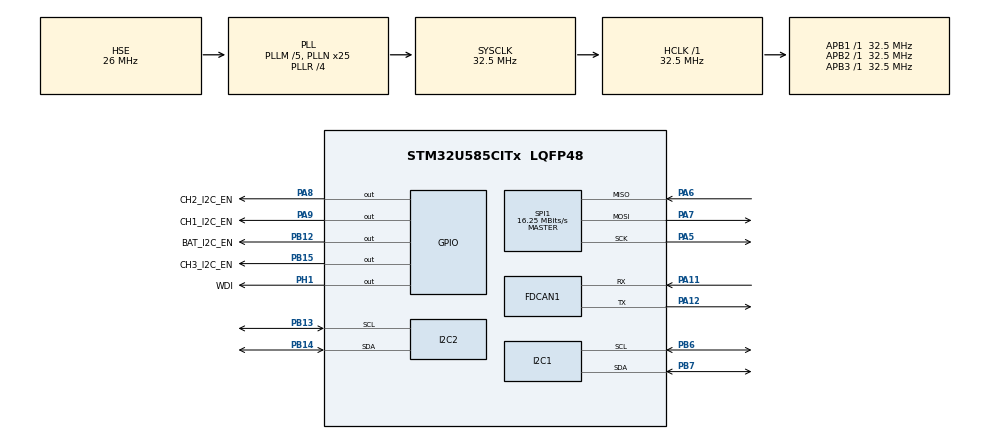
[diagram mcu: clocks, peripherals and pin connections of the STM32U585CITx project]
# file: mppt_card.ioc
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CORTEX_M33_NS.userName=CORTEX_M33
FDCAN1.CalculateBaudRateNominal=500000
FDCAN1.CalculateTimeBitNominal=2000
FDCAN1.CalculateTimeQuantumNominal=153.84615384615384
FDCAN1.DataPrescaler=1
FDCAN1.DataTimeSeg1=1
FDCAN1.DataTimeSeg2=1
FDCAN1.NominalPrescaler=4
FDCAN1.NominalTimeSeg1=10
FDCAN1.NominalTimeSeg2=2
I2C1.Timing=0x00807EBE
I2C2.Timing=0x00807EBE
Mcu.Family=STM32U5
Mcu.Name=STM32U585CITx
Mcu.Package=LQFP48
NVIC.PriorityGroup=NVIC_PRIORITYGROUP_4
PA11.Mode=FDCAN_Activate
PA11.Signal=FDCAN1_RX
PA12.Mode=FDCAN_Activate
PA12.Signal=FDCAN1_TX
PA13\ (JTMS/SWDIO).Mode=Serial_Wire
PA13\ (JTMS/SWDIO).Signal=DEBUG_JTMS-SWDIO
PA14\ (JTCK/SWCLK).Mode=Serial_Wire
PA14\ (JTCK/SWCLK).Signal=DEBUG_JTCK-SWCLK
PA5.Mode=Full_Duplex_Master
PA5.Signal=SPI1_SCK
PA6.Mode=Full_Duplex_Master
PA6.Signal=SPI1_MISO
PA7.Mode=Full_Duplex_Master
PA7.Signal=SPI1_MOSI
PA8.GPIO_Label=CH2_I2C_EN
PA8.Signal=GPIO_Output
PA9.GPIO_Label=CH1_I2C_EN
PA9.Signal=GPIO_Output
PB0.Signal=SPI1_NSS
PB12.GPIO_Label=BAT_I2C_EN
PB12.Signal=GPIO_Output
PB13.Mode=I2C
PB13.Signal=I2C2_SCL
PB14.Mode=I2C
PB14.Signal=I2C2_SDA
PB15.GPIO_Label=CH3_I2C_EN
PB15.Signal=GPIO_Output
PB6.Mode=I2C
PB6.Signal=I2C1_SCL
PB7.Mode=I2C
PB7.Signal=I2C1_SDA
PC14-OSC32_IN\ (PC14).Mode=LSE-External-Oscillator
PC14-OSC32_IN\ (PC14).Signal=RCC_OSC32_IN
PC15-OSC32_OUT\ (PC15).Mode=LSE-External-Oscillator
PC15-OSC32_OUT\ (PC15).Signal=RCC_OSC32_OUT
PH0-OSC_IN\ (PH0).Mode=HSE-External-Clock-Source
PH0-OSC_IN\ (PH0).Signal=RCC_OSC_IN
PH1-OSC_OUT\ (PH1).GPIO_Label=WDI
PH1-OSC_OUT\ (PH1).Signal=GPIO_Output
ProjectManager.HeapSize=0x200
ProjectManager.StackSize=0x400
ProjectManager.TargetToolchain=STM32CubeIDE
RCC.ADCFreq_Value=16000000
RCC.AHBFreq_Value=32500000
RCC.APB1Freq_Value=32500000
RCC.APB1TimFreq_Value=32500000
RCC.APB2Freq_Value=32500000
RCC.APB2TimFreq_Value=32500000
RCC.APB3Freq_Value=32500000
RCC.CortexFreq_Value=32500000
RCC.EPOD_VALUE=26000000
RCC.FDCANClockSelection=RCC_FDCAN1CLKSOURCE_HSE
RCC.HCLKFreq_Value=32500000
RCC.HSE_VALUE=26000000
RCC.HSI48_VALUE=48000000
RCC.HSI_VALUE=16000000
RCC.LSIDIV_VALUE=32000
RCC.MSIClockRange=RCC_MSIRANGE_0
RCC.MSI_VALUE=48000000
RCC.PLL1Q=1
RCC.PLL1R=4
RCC.PLL2FRACN=0
RCC.PLL3FRACN=0
RCC.PLLFRACN=0
RCC.PLLM=5
RCC.PLLN=25
RCC.PLLSourceVirtual=RCC_PLLSOURCE_HSE
RCC.SYSCLKFreq_VALUE=32500000
RCC.SYSCLKSource=RCC_SYSCLKSOURCE_PLLCLK
RCC.USBFreq_Value=48000000
RCC.VCOOutputFreq_Value=130000000
SPI1.BaudRatePrescaler=SPI_BAUDRATEPRESCALER_2
SPI1.CalculateBaudRate=16.25 MBits/s
SPI1.DataSize=SPI_DATASIZE_8BIT
SPI1.Direction=SPI_DIRECTION_2LINES
SPI1.Mode=SPI_MODE_MASTER
SPI1.VirtualType=VM_MASTER
VP_LPBAMQUEUE_VS_QUEUE.Mode=QUEUEMODE
VP_LPBAM_VS_SIG1.Mode=SmartRun
VP_LPBAM_VS_SIG4.Mode=LPDMA1
VP_MEMORYMAP_VS_MEMORYMAP.Mode=CurAppReg
VP_PWR_VS_SECSignals.Mode=Security/Privilege
board=custom

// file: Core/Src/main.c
/* USER CODE BEGIN Header */
/**
  ******************************************************************************
  * @file           : main.c
  * @brief          : Main program body
  ******************************************************************************
  * @attention
  *
  * Copyright (c) 2026 STMicroelectronics.
  * All rights reserved.
  *
  * This software is licensed under terms that can be found in the LICENSE file
  * in the root directory of this software component.
  * If no LICENSE file comes with this software, it is provided AS-IS.
  *
  ******************************************************************************
  */
/* USER CODE END Header */
#include "main.h"

/* USER CODE BEGIN PTD */
typedef struct{
    uint8_t priority;
    uint8_t sender;
    uint8_t receiver;
    uint16_t message_id;
    uint8_t seq_type;
    uint8_t seq_count;
} METUCube_FDCAN_ID_t;

typedef struct{
  uint8_t priority;
  uint8_t sender;
  uint8_t receiver;
  uint16_t message_id;
  uint8_t seq_type;
  uint8_t seq_count;
  uint8_t dlc;
  uint8_t payload[8];
}FDCAN_queue_element;

typedef struct {
    uint16_t tbat;
    uint16_t pout;
    uint16_t pin;
    uint16_t iout;
    uint16_t vbat;
    uint16_t vin;
} LT8491_Telemetry_t;

/* USER CODE END PTD */

/* USER CODE BEGIN PD */
#define BROADCAST_ID  0x0F
#define MPPT_ID       0x04
#define OBC_ID        0x00

#define MSG_ID_MPPT_HEARTBEAT 0x85
#define MSG_ID_MPPT_HOUSEKEEPING 0x86

#define FDCAN_QUEUE_SIZE 50

#define TELE_TBAT  0x00
#define TELE_POUT  0x02
#define TELE_PIN   0x04
#define TELE_IOUT  0x08
#define TELE_VBAT  0x0C
#define TELE_VIN   0x0E

#define LT8491_REG_STAT_CHARGER      0x12
#define LT8491_REG_CTRL_CHRG_EN      0x23
#define LT8491_REG_BOOT_INIT_CHRG_EN 0x9A

#define LT8491_CH1_ADDR  (0x10 << 1)
#define LT8491_CH2_ADDR  (0x29 << 1)
#define LT8491_CH3_ADDR  (0x19 << 1)

#define WDI_TOGGLE_INTERVAL_MS  500 // must be under the external WDI timeout

#define EN_I2C_CH1_PORT CH1_I2C_EN_GPIO_Port
#define EN_I2C_CH1_PIN  CH1_I2C_EN_Pin
#define EN_I2C_CH2_PORT CH2_I2C_EN_GPIO_Port
#define EN_I2C_CH2_PIN  CH2_I2C_EN_Pin
#define EN_I2C_CH3_PORT CH3_I2C_EN_GPIO_Port
#define EN_I2C_CH3_PIN  CH3_I2C_EN_Pin
#define EN_I2C_BAT_PORT BAT_I2C_EN_GPIO_Port
#define EN_I2C_BAT_PIN  BAT_I2C_EN_Pin

#define CLAMP_U16(x)  ((x) > 0xFFFFU ? (uint16_t)0xFFFF : (uint16_t)(x)) // uint32 to uint16

#define CH_STATUS_CH1_VALID  0x01
#define CH_STATUS_CH2_VALID  0x02
#define CH_STATUS_CH3_VALID  0x04
/* USER CODE END PD */

FDCAN_HandleTypeDef hfdcan1;

I2C_HandleTypeDef hi2c1;
I2C_HandleTypeDef hi2c2;

SPI_HandleTypeDef hspi1;

/* USER CODE BEGIN PV */
uint32_t errorCounter = 0;
uint32_t canRecCounter = 0;
FDCAN_TxHeaderTypeDef txHeader;
FDCAN_RxHeaderTypeDef rxHeader;
uint8_t txData[8];
uint8_t rxData[8];

uint32_t last_heartbeat_time = 0;
uint32_t last_OBC_heartbeat_time = 0;
uint32_t last_wdi_toggle_time = 0;
const uint32_t heartbeat_interval = 1000;
const uint32_t OBC_heartbeat_reset_time = 10000;

volatile uint8_t queue_head = 0;
volatile uint8_t queue_tail = 0;
volatile uint16_t queue_overflow_counter = 0;

FDCAN_queue_element fdcan_queue[FDCAN_QUEUE_SIZE];

uint8_t mppt_ch_status = 0; // whether the read from last i2c channel succeded or failed for debug
/* USER CODE END PV */

void SystemClock_Config(void);
static void MX_GPIO_Init(void);
static void MX_FDCAN1_Init(void);
static void MX_SPI1_Init(void);
static void MX_I2C2_Init(void);
static void MX_I2C1_Init(void);
/* USER CODE BEGIN PFP */
uint32_t Build_FDCAN_ID_FromStruct(METUCube_FDCAN_ID_t *id);

HAL_StatusTypeDef MPPT_Send_Heartbeat(void);
HAL_StatusTypeDef MPPT_Send_Housekeeping(void);

uint8_t FDCAN_QueuePush(FDCAN_queue_element *queue, volatile uint8_t *head, volatile uint8_t *tail, FDCAN_queue_element *element);
uint8_t FDCAN_QueuePop(FDCAN_queue_element *queue, volatile uint8_t *head, volatile uint8_t *tail, FDCAN_queue_element *element);
HAL_StatusTypeDef FDCAN_ProcessQueue(void);
uint8_t FDCAN_DLC_ToBytes(uint32_t dataLength);
HAL_StatusTypeDef FDCAN_ProcessQueueElement(FDCAN_queue_element *element);
uint32_t FDCAN_Bytes_To_DLC(uint8_t bytes);
HAL_StatusTypeDef LT8491_ReadWord(I2C_HandleTypeDef *hi2c, uint16_t devAddr, uint8_t reg, uint16_t *value);
HAL_StatusTypeDef LT8491_ReadAllTelemetry(I2C_HandleTypeDef *hi2c, uint16_t devAddr, LT8491_Telemetry_t *tele);
void MPPT_EN_I2C_Init(void);

HAL_StatusTypeDef LT8491_ReadByte(I2C_HandleTypeDef *hi2c, uint16_t devAddr, uint8_t reg, uint8_t *value);
HAL_StatusTypeDef LT8491_WriteByte(I2C_HandleTypeDef *hi2c, uint16_t devAddr, uint8_t reg, uint8_t value);
void MPPT_Ensure_Charging(void);
/* USER CODE END PFP */

/* USER CODE BEGIN 0 */
uint32_t Build_FDCAN_ID_FromStruct(METUCube_FDCAN_ID_t *id) {
    uint32_t ext_id = 0;
    ext_id |= ((id->priority   & 0x03) << 27);
    ext_id |= ((id->sender     & 0x0F) << 23);
    ext_id |= ((id->receiver   & 0x0F) << 19);
    ext_id |= ((id->message_id & 0x3FF) << 9);
    ext_id |= ((id->seq_type   & 0x03) << 7);
    ext_id |= ((id->seq_count  & 0x7F));

    return ext_id;
}

HAL_StatusTypeDef MPPT_Send_Heartbeat(void){
	METUCube_FDCAN_ID_t fdcan_id;
	fdcan_id.priority = 0x03;
	fdcan_id.sender = MPPT_ID;
	fdcan_id.receiver = OBC_ID;
	fdcan_id.message_id = MSG_ID_MPPT_HEARTBEAT;
	fdcan_id.seq_type = 0x03;
	fdcan_id.seq_count = 0;

	txHeader.Identifier = Build_FDCAN_ID_FromStruct(&fdcan_id);
	txHeader.IdType = FDCAN_EXTENDED_ID;
	txHeader.TxFrameType = FDCAN_DATA_FRAME;
	txHeader.DataLength = FDCAN_DLC_BYTES_1;
	txHeader.ErrorStateIndicator = FDCAN_ESI_ACTIVE;
    txHeader.BitRateSwitch = FDCAN_BRS_OFF;
    txHeader.FDFormat = FDCAN_CLASSIC_CAN;
	txHeader.TxEventFifoControl = FDCAN_NO_TX_EVENTS;
	txHeader.MessageMarker = 0;

	txData[0] = MSG_ID_MPPT_HEARTBEAT;

	return HAL_FDCAN_AddMessageToTxFifoQ(&hfdcan1, &txHeader, txData);
}

uint8_t FDCAN_QueuePush(FDCAN_queue_element *queue, volatile uint8_t *head, volatile uint8_t *tail, FDCAN_queue_element *element) {
  uint8_t next = (*head + 1) % FDCAN_QUEUE_SIZE;
  if (next == *tail) return 0;   // queue full
  queue[*head] = *element;
  *head = next;
  return 1;
}

uint8_t FDCAN_QueuePop(FDCAN_queue_element *queue, volatile uint8_t *head, volatile uint8_t *tail, FDCAN_queue_element *element){
  __disable_irq();
  if (*tail == *head) {
    __enable_irq();
    return 0;   // empty
  }
  *element = queue[*tail];
  *tail = (*tail + 1) % FDCAN_QUEUE_SIZE;
  __enable_irq();
  return 1;
}

HAL_StatusTypeDef FDCAN_ProcessQueue(void){
  FDCAN_queue_element element;
  if(FDCAN_QueuePop(fdcan_queue, &queue_head, &queue_tail, &element)){
    return FDCAN_ProcessQueueElement(&element);
  }
  return HAL_OK;
}

uint8_t FDCAN_DLC_ToBytes(uint32_t dataLength){
    switch (dataLength){
    	case FDCAN_DLC_BYTES_0: return 0;
        case FDCAN_DLC_BYTES_1: return 1;
        case FDCAN_DLC_BYTES_2: return 2;
        case FDCAN_DLC_BYTES_3: return 3;
        case FDCAN_DLC_BYTES_4: return 4;
        case FDCAN_DLC_BYTES_5: return 5;
        case FDCAN_DLC_BYTES_6: return 6;
        case FDCAN_DLC_BYTES_7: return 7;
        case FDCAN_DLC_BYTES_8: return 8;
        default:
        	return 0;
    }
}

uint32_t FDCAN_Bytes_To_DLC(uint8_t bytes){
    switch(bytes){
        case 0: return FDCAN_DLC_BYTES_0;
        case 1: return FDCAN_DLC_BYTES_1;
        case 2: return FDCAN_DLC_BYTES_2;
        case 3: return FDCAN_DLC_BYTES_3;
        case 4: return FDCAN_DLC_BYTES_4;
        case 5: return FDCAN_DLC_BYTES_5;
        case 6: return FDCAN_DLC_BYTES_6;
        case 7: return FDCAN_DLC_BYTES_7;
        default: return FDCAN_DLC_BYTES_8;
    }
}

HAL_StatusTypeDef FDCAN_ProcessQueueElement(FDCAN_queue_element *element){
    switch(element->message_id){
    	case MSG_ID_MPPT_HOUSEKEEPING: return MPPT_Send_Housekeeping();
      case MSG_ID_MPPT_HEARTBEAT: return MPPT_Send_Heartbeat();
        default:
            break;
    }
    return HAL_OK;
}

HAL_StatusTypeDef LT8491_ReadWord(I2C_HandleTypeDef *hi2c, uint16_t devAddr, uint8_t reg, uint16_t *value){
    uint8_t data[2];
    HAL_StatusTypeDef status = HAL_I2C_Mem_Read(hi2c, devAddr, reg, I2C_MEMADD_SIZE_8BIT, data, 2, 100);

    if (status != HAL_OK) return status;

    *value = (uint16_t)(data[0] | (data[1] << 8));   //little endian, yanlışsa düzeltiriz
    return HAL_OK;
}

HAL_StatusTypeDef LT8491_ReadAllTelemetry(I2C_HandleTypeDef *hi2c, uint16_t devAddr, LT8491_Telemetry_t *tele){
  if (LT8491_ReadWord(hi2c,devAddr, TELE_TBAT, &tele->tbat) != HAL_OK) goto fail;
  if (LT8491_ReadWord(hi2c,devAddr, TELE_POUT, &tele->pout) != HAL_OK) goto fail;
  if (LT8491_ReadWord(hi2c,devAddr, TELE_PIN,  &tele->pin)  != HAL_OK) goto fail;
  if (LT8491_ReadWord(hi2c,devAddr, TELE_IOUT, &tele->iout) != HAL_OK) goto fail;
  if (LT8491_ReadWord(hi2c,devAddr, TELE_VBAT, &tele->vbat) != HAL_OK) goto fail;
  if (LT8491_ReadWord(hi2c,devAddr, TELE_VIN,  &tele->vin)  != HAL_OK) goto fail;
  return HAL_OK;
 fail:
  *tele = (LT8491_Telemetry_t){0};
  return HAL_ERROR;
}

void MPPT_EN_I2C_Init(void){

    /* Drive all enables high, level shifters pass-through */
    HAL_GPIO_WritePin( CH1_I2C_EN_GPIO_Port, CH1_I2C_EN_Pin,GPIO_PIN_SET );

    HAL_GPIO_WritePin( CH2_I2C_EN_GPIO_Port,CH2_I2C_EN_Pin,GPIO_PIN_SET );

    HAL_GPIO_WritePin(CH3_I2C_EN_GPIO_Port,CH3_I2C_EN_Pin,GPIO_PIN_SET );

    HAL_GPIO_WritePin(BAT_I2C_EN_GPIO_Port,BAT_I2C_EN_Pin,GPIO_PIN_SET );
}

HAL_StatusTypeDef LT8491_ReadByte(I2C_HandleTypeDef *hi2c, uint16_t devAddr, uint8_t reg, uint8_t *value){
    return HAL_I2C_Mem_Read(hi2c, devAddr, reg, I2C_MEMADD_SIZE_8BIT, value, 1, 100);
}

HAL_StatusTypeDef LT8491_WriteByte(I2C_HandleTypeDef *hi2c, uint16_t devAddr, uint8_t reg, uint8_t value){
    return HAL_I2C_Mem_Write(hi2c, devAddr, reg, I2C_MEMADD_SIZE_8BIT, &value, 1, 100);
}
//kapalıysa enable ediyor
void MPPT_Ensure_Charging(void){
    const uint16_t addrs[3] = {LT8491_CH1_ADDR, LT8491_CH2_ADDR, LT8491_CH3_ADDR};
    for (uint8_t i = 0; i < 3; i++){
        uint8_t stat = 0;
        if (LT8491_ReadByte(&hi2c1, addrs[i], LT8491_REG_STAT_CHARGER, &stat) != HAL_OK){
            errorCounter++;
            continue;
        }
        if ((stat & 0x01) == 0){  // CHRG_EN_PIN/charging-off göstergesi: bit tanımını datasheet STAT_CHARGER tablosundan teyit et
            if (LT8491_WriteByte(&hi2c1, addrs[i], LT8491_REG_CTRL_CHRG_EN, 0x01) != HAL_OK)
                errorCounter++;
        }
    }
}

HAL_StatusTypeDef MPPT_Send_Housekeeping(void){
    uint16_t payload[18] = {0};

    LT8491_Telemetry_t ch1 = {0};
    LT8491_Telemetry_t ch2 = {0};
    LT8491_Telemetry_t ch3 = {0};
    mppt_ch_status = 0;

    /* --- Read each channel independently --- */
    if (LT8491_ReadAllTelemetry(&hi2c1, LT8491_CH1_ADDR, &ch1) == HAL_OK)
        mppt_ch_status |= CH_STATUS_CH1_VALID;

    if (LT8491_ReadAllTelemetry(&hi2c1, LT8491_CH2_ADDR, &ch2) == HAL_OK)
        mppt_ch_status |= CH_STATUS_CH2_VALID;

    if (LT8491_ReadAllTelemetry(&hi2c1, LT8491_CH3_ADDR, &ch3) == HAL_OK)
        mppt_ch_status |= CH_STATUS_CH3_VALID;

    /* --- Assemble payload (matches spec 3.3.2, 0x86) --- */

    /* Overflow-safe sums for combined battery fields */
    uint32_t total_iout = (uint32_t)ch1.iout + ch2.iout + ch3.iout;
    uint32_t total_pout = (uint32_t)ch1.pout + ch2.pout + ch3.pout;

    payload[0]  = (ch1.vbat*10);              // battery voltage mv
    payload[1]  = CLAMP_U16(total_iout); // battery current ma
    payload[2]  = CLAMP_U16(total_pout);  // battery power mw

    payload[3]  = (ch1.pout*10);               // CH1 Power Out
    payload[4]  = (ch1.pin*10);                // CH1 Power Draw
    payload[5]  = (ch1.vin*10);                // CH1 Power Voltage
    payload[6]  = 0;                      // CH1 Placeholder

    payload[7]  = (ch2.pout*10);               // CH2 Power Out
    payload[8]  = (ch2.pin*10);                // CH2 Power Draw
    payload[9]  = (ch2.vin*10);                // CH2 Power Voltage
    payload[10] = 0;                      // CH2 Placeholder

    payload[11] = (ch3.pout*10);               // CH3 Power Out
    payload[12] = (ch3.pin*10);                // CH3 Power Draw
    payload[13] = (ch3.vin*10);                // CH3 Power Voltage
    payload[14] = 0;                      // CH3 Placeholder

    int16_t tbat_raw = (int16_t)ch1.tbat;
    if ((mppt_ch_status & CH_STATUS_CH1_VALID) && tbat_raw != (int16_t)0x7FFF) {
        float tbat_k = (tbat_raw / 10.0f) + 273.15f;
        payload[15] = (uint16_t)(tbat_k + 0.5f);
    }else{
        payload[15] = 0;
    }         // MPPT Board Temp kelvin olarak dönüşüm yanlış olabilir emin değilim hiç burda channel 1 okumak yeterli mi?

    payload[16] = 0;                      // Placeholder
    payload[17] = 0;                      // Placeholder

    /* --- Transmit 36 bytes across 5 classic CAN frames --- */
    METUCube_FDCAN_ID_t fdcan_id;
    fdcan_id.priority = 0x03;
    fdcan_id.sender = MPPT_ID;
    fdcan_id.receiver = OBC_ID;
    fdcan_id.message_id = MSG_ID_MPPT_HOUSEKEEPING;

    uint8_t *bytes = (uint8_t *)payload;
    uint8_t total_bytes = 36;

    for (uint8_t segment = 0; segment < 5; segment++){
        uint8_t remaining = total_bytes - segment * 8;
        uint8_t dlc = (remaining >= 8) ? 8 : remaining;

        fdcan_id.seq_count = segment;

        if (segment == 0)
            fdcan_id.seq_type = 0x01;
        else if (segment == 4)
            fdcan_id.seq_type = 0x02;
        else
            fdcan_id.seq_type = 0x00;

        txHeader.Identifier = Build_FDCAN_ID_FromStruct(&fdcan_id);
        txHeader.IdType = FDCAN_EXTENDED_ID;
        txHeader.TxFrameType = FDCAN_DATA_FRAME;
        txHeader.DataLength = FDCAN_Bytes_To_DLC(dlc);
        txHeader.ErrorStateIndicator = FDCAN_ESI_ACTIVE;
        txHeader.BitRateSwitch = FDCAN_BRS_OFF;
        txHeader.FDFormat = FDCAN_CLASSIC_CAN;
        txHeader.TxEventFifoControl = FDCAN_NO_TX_EVENTS;
        txHeader.MessageMarker = 0;

        for (uint8_t i = 0; i < dlc; i++) {
            txData[i] = bytes[segment * 8 + i];
        }

        HAL_StatusTypeDef status = HAL_FDCAN_AddMessageToTxFifoQ(&hfdcan1, &txHeader, txData);

        if (status != HAL_OK) return status;

        HAL_Delay(2);
    }

    return HAL_OK;
}
/* USER CODE END 0 */

int main(void)
{

  /* MCU Configuration--------------------------------------------------------*/

  /* Reset of all peripherals, Initializes the Flash interface and the Systick. */
  HAL_Init();

  /* Configure the system clock */
  SystemClock_Config();

  /* Initialize all configured peripherals */
  MX_GPIO_Init();
  MX_FDCAN1_Init();
  MX_SPI1_Init();
  MX_I2C2_Init();
  MX_I2C1_Init();
  /* USER CODE BEGIN 2 */

  MPPT_EN_I2C_Init();
  HAL_Delay(10);
  MPPT_Ensure_Charging(); // bu lt8491'lerin charging enable pinlerini aktif ediyor, eğer kapalıysa. bunu daha kontrollü yapmak lazım sanırım, çünkü eğer kapalıysa açıyor, ama kapalı olmasının sebebi bir hata olabilir. o yüzden bunu daha kontrollü yapmak lazım. mesela önce stat register'ı oku, eğer charging enable pin kapalıysa ve stat register'da bir hata yoksa enable et gibi.

  if (HAL_FDCAN_ConfigGlobalFilter(&hfdcan1, FDCAN_ACCEPT_IN_RX_FIFO0,FDCAN_ACCEPT_IN_RX_FIFO0,FDCAN_REJECT_REMOTE, FDCAN_REJECT_REMOTE) != HAL_OK){
      errorCounter++;
  }

  if (HAL_FDCAN_Start(&hfdcan1) != HAL_OK){
      errorCounter++;
  }

  if (HAL_FDCAN_ActivateNotification(&hfdcan1, FDCAN_IT_RX_FIFO0_NEW_MESSAGE, 0) != HAL_OK) {
	  errorCounter++;
  }
  /* USER CODE END 2 */

  /* Infinite loop */
  while (1)
  {

    /* USER CODE BEGIN 3 */

    if (HAL_GetTick() - last_wdi_toggle_time >= WDI_TOGGLE_INTERVAL_MS) {
		  last_wdi_toggle_time = HAL_GetTick();
		  HAL_GPIO_TogglePin(WDI_GPIO_Port, WDI_Pin);
	  }

	  if(HAL_GetTick() - last_heartbeat_time >= heartbeat_interval) {
		  last_heartbeat_time = HAL_GetTick();
	  	  if(MPPT_Send_Heartbeat() != HAL_OK) {
	  		  errorCounter++;
	  	  }
	  }

	  if(FDCAN_ProcessQueue() != HAL_OK) errorCounter++;

  }
  /* USER CODE END 3 */
}

void SystemClock_Config(void)
{
  RCC_OscInitTypeDef RCC_OscInitStruct = {0};
  RCC_ClkInitTypeDef RCC_ClkInitStruct = {0};

  /** Configure the main internal regulator output voltage
  */
  if (HAL_PWREx_ControlVoltageScaling(PWR_REGULATOR_VOLTAGE_SCALE3) != HAL_OK)
  {
    Error_Handler();
  }

  /** Initializes the CPU, AHB and APB buses clocks
  */
  RCC_OscInitStruct.OscillatorType = RCC_OSCILLATORTYPE_HSE;
  RCC_OscInitStruct.HSEState = RCC_HSE_BYPASS;
  RCC_OscInitStruct.PLL.PLLState = RCC_PLL_ON;
  RCC_OscInitStruct.PLL.PLLSource = RCC_PLLSOURCE_HSE;
  RCC_OscInitStruct.PLL.PLLMBOOST = RCC_PLLMBOOST_DIV2;
  RCC_OscInitStruct.PLL.PLLM = 5;
  RCC_OscInitStruct.PLL.PLLN = 25;
  RCC_OscInitStruct.PLL.PLLP = 2;
  RCC_OscInitStruct.PLL.PLLQ = 1;
  RCC_OscInitStruct.PLL.PLLR = 4;
  RCC_OscInitStruct.PLL.PLLRGE = RCC_PLLVCIRANGE_0;
  RCC_OscInitStruct.PLL.PLLFRACN = 0;
  if (HAL_RCC_OscConfig(&RCC_OscInitStruct) != HAL_OK)
  {
    Error_Handler();
  }

  /** Initializes the CPU, AHB and APB buses clocks
  */
  RCC_ClkInitStruct.ClockType = RCC_CLOCKTYPE_HCLK|RCC_CLOCKTYPE_SYSCLK
                              |RCC_CLOCKTYPE_PCLK1|RCC_CLOCKTYPE_PCLK2
                              |RCC_CLOCKTYPE_PCLK3;
  RCC_ClkInitStruct.SYSCLKSource = RCC_SYSCLKSOURCE_PLLCLK;
  RCC_ClkInitStruct.AHBCLKDivider = RCC_SYSCLK_DIV1;
  RCC_ClkInitStruct.APB1CLKDivider = RCC_HCLK_DIV1;
  RCC_ClkInitStruct.APB2CLKDivider = RCC_HCLK_DIV1;
  RCC_ClkInitStruct.APB3CLKDivider = RCC_HCLK_DIV1;

  if (HAL_RCC_ClockConfig(&RCC_ClkInitStruct, FLASH_LATENCY_1) != HAL_OK)
  {
    Error_Handler();
  }
}

static void MX_FDCAN1_Init(void)
{

  hfdcan1.Instance = FDCAN1;
  hfdcan1.Init.ClockDivider = FDCAN_CLOCK_DIV1;
  hfdcan1.Init.FrameFormat = FDCAN_FRAME_CLASSIC;
  hfdcan1.Init.Mode = FDCAN_MODE_NORMAL;
  hfdcan1.Init.AutoRetransmission = DISABLE;
  hfdcan1.Init.TransmitPause = DISABLE;
  hfdcan1.Init.ProtocolException = DISABLE;
  hfdcan1.Init.NominalPrescaler = 4;
  hfdcan1.Init.NominalSyncJumpWidth = 1;
  hfdcan1.Init.NominalTimeSeg1 = 10;
  hfdcan1.Init.NominalTimeSeg2 = 2;
  hfdcan1.Init.DataPrescaler = 1;
  hfdcan1.Init.DataSyncJumpWidth = 1;
  hfdcan1.Init.DataTimeSeg1 = 1;
  hfdcan1.Init.DataTimeSeg2 = 1;
  hfdcan1.Init.StdFiltersNbr = 0;
  hfdcan1.Init.ExtFiltersNbr = 0;
  hfdcan1.Init.TxFifoQueueMode = FDCAN_TX_FIFO_OPERATION;
  if (HAL_FDCAN_Init(&hfdcan1) != HAL_OK)
  {
    Error_Handler();
  }

}

static void MX_I2C1_Init(void)
{

  hi2c1.Instance = I2C1;
  hi2c1.Init.Timing = 0x00807EBE;
  hi2c1.Init.OwnAddress1 = 0;
  hi2c1.Init.AddressingMode = I2C_ADDRESSINGMODE_7BIT;
  hi2c1.Init.DualAddressMode = I2C_DUALADDRESS_DISABLE;
  hi2c1.Init.OwnAddress2 = 0;
  hi2c1.Init.OwnAddress2Masks = I2C_OA2_NOMASK;
  hi2c1.Init.GeneralCallMode = I2C_GENERALCALL_DISABLE;
  hi2c1.Init.NoStretchMode = I2C_NOSTRETCH_DISABLE;
  if (HAL_I2C_Init(&hi2c1) != HAL_OK)
  {
    Error_Handler();
  }

  /** Configure Analogue filter
  */
  if (HAL_I2CEx_ConfigAnalogFilter(&hi2c1, I2C_ANALOGFILTER_ENABLE) != HAL_OK)
  {
    Error_Handler();
  }

  /** Configure Digital filter
  */
  if (HAL_I2CEx_ConfigDigitalFilter(&hi2c1, 0) != HAL_OK)
  {
    Error_Handler();
  }

}

static void MX_I2C2_Init(void)
{

  hi2c2.Instance = I2C2;
  hi2c2.Init.Timing = 0x00807EBE;
  hi2c2.Init.OwnAddress1 = 0;
  hi2c2.Init.AddressingMode = I2C_ADDRESSINGMODE_7BIT;
  hi2c2.Init.DualAddressMode = I2C_DUALADDRESS_DISABLE;
  hi2c2.Init.OwnAddress2 = 0;
  hi2c2.Init.OwnAddress2Masks = I2C_OA2_NOMASK;
  hi2c2.Init.GeneralCallMode = I2C_GENERALCALL_DISABLE;
  hi2c2.Init.NoStretchMode = I2C_NOSTRETCH_DISABLE;
  if (HAL_I2C_Init(&hi2c2) != HAL_OK)
  {
    Error_Handler();
  }

  /** Configure Analogue filter
  */
  if (HAL_I2CEx_ConfigAnalogFilter(&hi2c2, I2C_ANALOGFILTER_ENABLE) != HAL_OK)
  {
    Error_Handler();
  }

  /** Configure Digital filter
  */
  if (HAL_I2CEx_ConfigDigitalFilter(&hi2c2, 0) != HAL_OK)
  {
    Error_Handler();
  }

}

static void MX_SPI1_Init(void)
{

  SPI_AutonomousModeConfTypeDef HAL_SPI_AutonomousMode_Cfg_Struct = {0};

  /* SPI1 parameter configuration*/
  hspi1.Instance = SPI1;
  hspi1.Init.Mode = SPI_MODE_MASTER;
  hspi1.Init.Direction = SPI_DIRECTION_2LINES;
  hspi1.Init.DataSize = SPI_DATASIZE_8BIT;
  hspi1.Init.CLKPolarity = SPI_POLARITY_LOW;
  hspi1.Init.CLKPhase = SPI_PHASE_1EDGE;
  hspi1.Init.NSS = SPI_NSS_SOFT;
  hspi1.Init.BaudRatePrescaler = SPI_BAUDRATEPRESCALER_2;
  hspi1.Init.FirstBit = SPI_FIRSTBIT_MSB;
  hspi1.Init.TIMode = SPI_TIMODE_DISABLE;
  hspi1.Init.CRCCalculation = SPI_CRCCALCULATION_DISABLE;
  hspi1.Init.CRCPolynomial = 0x7;
  hspi1.Init.NSSPMode = SPI_NSS_PULSE_ENABLE;
  hspi1.Init.NSSPolarity = SPI_NSS_POLARITY_LOW;
  hspi1.Init.FifoThreshold = SPI_FIFO_THRESHOLD_01DATA;
  hspi1.Init.MasterSSIdleness = SPI_MASTER_SS_IDLENESS_00CYCLE;
  hspi1.Init.MasterInterDataIdleness = SPI_MASTER_INTERDATA_IDLENESS_00CYCLE;
  hspi1.Init.MasterReceiverAutoSusp = SPI_MASTER_RX_AUTOSUSP_DISABLE;
  hspi1.Init.MasterKeepIOState = SPI_MASTER_KEEP_IO_STATE_DISABLE;
  hspi1.Init.IOSwap = SPI_IO_SWAP_DISABLE;
  hspi1.Init.ReadyMasterManagement = SPI_RDY_MASTER_MANAGEMENT_INTERNALLY;
  hspi1.Init.ReadyPolarity = SPI_RDY_POLARITY_HIGH;
  if (HAL_SPI_Init(&hspi1) != HAL_OK)
  {
    Error_Handler();
  }
  HAL_SPI_AutonomousMode_Cfg_Struct.TriggerState = SPI_AUTO_MODE_DISABLE;
  HAL_SPI_AutonomousMode_Cfg_Struct.TriggerSelection = SPI_GRP1_GPDMA_CH0_TCF_TRG;
  HAL_SPI_AutonomousMode_Cfg_Struct.TriggerPolarity = SPI_TRIG_POLARITY_RISING;
  if (HAL_SPIEx_SetConfigAutonomousMode(&hspi1, &HAL_SPI_AutonomousMode_Cfg_Struct) != HAL_OK)
  {
    Error_Handler();
  }

}

static void MX_GPIO_Init(void)
{
  GPIO_InitTypeDef GPIO_InitStruct = {0};

  /* GPIO Ports Clock Enable */
  __HAL_RCC_GPIOC_CLK_ENABLE();
  __HAL_RCC_GPIOH_CLK_ENABLE();
  __HAL_RCC_GPIOA_CLK_ENABLE();
  __HAL_RCC_GPIOB_CLK_ENABLE();

  /*Configure GPIO pin Output Level */
  HAL_GPIO_WritePin(WDI_GPIO_Port, WDI_Pin, GPIO_PIN_RESET);

  /*Configure GPIO pin Output Level */
  HAL_GPIO_WritePin(GPIOB, BAT_I2C_EN_Pin|CH3_I2C_EN_Pin, GPIO_PIN_RESET);

  /*Configure GPIO pin Output Level */
  HAL_GPIO_WritePin(GPIOA, CH2_I2C_EN_Pin|CH1_I2C_EN_Pin, GPIO_PIN_RESET);

  /*Configure GPIO pin : WDI_Pin */
  GPIO_InitStruct.Pin = WDI_Pin;
  GPIO_InitStruct.Mode = GPIO_MODE_OUTPUT_PP;
  GPIO_InitStruct.Pull = GPIO_NOPULL;
  GPIO_InitStruct.Speed = GPIO_SPEED_FREQ_LOW;
  HAL_GPIO_Init(WDI_GPIO_Port, &GPIO_InitStruct);

  /*Configure GPIO pins : BAT_I2C_EN_Pin CH3_I2C_EN_Pin */
  GPIO_InitStruct.Pin = BAT_I2C_EN_Pin|CH3_I2C_EN_Pin;
  GPIO_InitStruct.Mode = GPIO_MODE_OUTPUT_PP;
  GPIO_InitStruct.Pull = GPIO_NOPULL;
  GPIO_InitStruct.Speed = GPIO_SPEED_FREQ_LOW;
  HAL_GPIO_Init(GPIOB, &GPIO_InitStruct);

  /*Configure GPIO pins : CH2_I2C_EN_Pin CH1_I2C_EN_Pin */
  GPIO_InitStruct.Pin = CH2_I2C_EN_Pin|CH1_I2C_EN_Pin;
  GPIO_InitStruct.Mode = GPIO_MODE_OUTPUT_PP;
  GPIO_InitStruct.Pull = GPIO_NOPULL;
  GPIO_InitStruct.Speed = GPIO_SPEED_FREQ_LOW;
  HAL_GPIO_Init(GPIOA, &GPIO_InitStruct);

}

/* USER CODE BEGIN 4 */
void HAL_FDCAN_RxFifo0Callback(FDCAN_HandleTypeDef *hfdcan, uint32_t RxFifo0ITs) {

	if ((RxFifo0ITs & FDCAN_IT_RX_FIFO0_NEW_MESSAGE) == 0) return;

    if (HAL_FDCAN_GetRxMessage(hfdcan, FDCAN_RX_FIFO0, &rxHeader, rxData) != HAL_OK){
    	errorCounter++;
      return;
    }

    canRecCounter++;

	if (rxHeader.IdType != FDCAN_EXTENDED_ID) return;

	FDCAN_queue_element element;
	element.priority = (rxHeader.Identifier >> 27) & 0x03;
	element.sender = (rxHeader.Identifier >> 23) & 0x0F;
	element.receiver   = (rxHeader.Identifier >> 19) & 0x0F;
	element.message_id = (rxHeader.Identifier >> 9)  & 0x3FF;
	element.seq_type   = (rxHeader.Identifier >> 7)  & 0x03;
	element.seq_count  = rxHeader.Identifier & 0x7F;
	element.dlc = FDCAN_DLC_ToBytes(rxHeader.DataLength);

	if(element.receiver != MPPT_ID && element.receiver != BROADCAST_ID) return;
	for (uint8_t i = 0; i < element.dlc; i++) {
	      element.payload[i] = rxData[i];
	}

	if(!FDCAN_QueuePush(fdcan_queue, &queue_head, &queue_tail, &element)){
	    queue_overflow_counter++;
	}
}
/* USER CODE END 4 */

void Error_Handler(void)
{
  __disable_irq();
  while (1)
  {
  }
}
